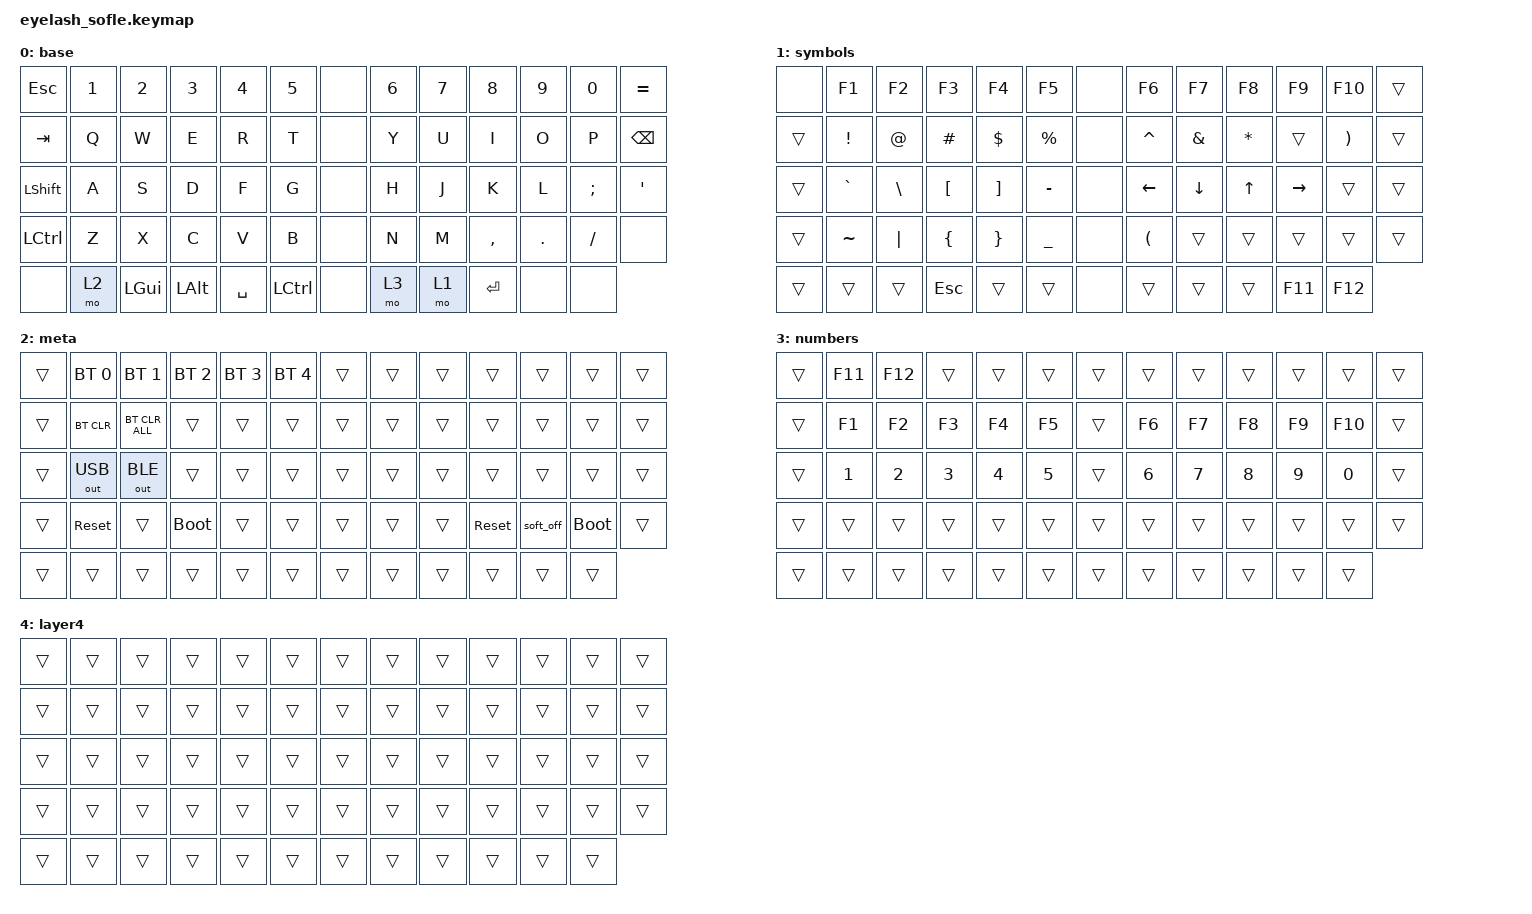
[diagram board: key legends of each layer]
#define ZMK_POINTING_DEFAULT_MOVE_VAL 1200  // 600
#define ZMK_POINTING_DEFAULT_SCRL_VAL 25   // 10

#include <input/processors.dtsi>
#include <zephyr/dt-bindings/input/input-event-codes.h>
#include <behaviors.dtsi>
#include <dt-bindings/zmk/bt.h>
#include <dt-bindings/zmk/keys.h>
#include <dt-bindings/zmk/outputs.h>
#include <dt-bindings/zmk/pointing.h>

&mmv_input_listener { input-processors = <&zip_xy_scaler 2 1>; };

&msc_input_listener { input-processors = <&zip_scroll_scaler 2 1>; };

&msc {
    acceleration-exponent = <1>;      // 0
    time-to-max-speed-ms = <100>;       // 300
    delay-ms = <0>;                   // 0
};

&mmv {
    time-to-max-speed-ms = <500>;
    acceleration-exponent = <1>;
    trigger-period-ms = <16>;
};

&soft_off { hold-time-ms = <2000>; };

/ {
    scroll_encoder: scroll_encoder {
        compatible = "zmk,behavior-sensor-rotate";
        #sensor-binding-cells = <0>;
        bindings = <&msc SCRL_DOWN>, <&msc SCRL_UP>;

        tap-ms = <100>;
    };

    behaviors {
    };

    combos {
        compatible = "zmk,combos";

        softoff {
            bindings = <&soft_off>;
            key-positions = <14 28 40>;
        };
    };

    keymap {
        compatible = "zmk,keymap";

        base {
            bindings = <
&kp ESC           &kp N1  &kp N2        &kp N3        &kp N4     &kp N5              &none  &kp N6  &kp N7  &kp N8     &kp N9   &kp N0    &kp EQUAL
&kp TAB           &kp Q   &kp W         &kp E         &kp R      &kp T               &none  &kp Y   &kp U   &kp I      &kp O    &kp P     &kp BACKSPACE
&kp LEFT_SHIFT    &kp A   &kp S         &kp D         &kp F      &kp G               &none  &kp H   &kp J   &kp K      &kp L    &kp SEMI  &kp APOS
&kp LEFT_CONTROL  &kp Z   &kp X         &kp C         &kp V      &kp B               &none  &kp N   &kp M   &kp COMMA  &kp DOT  &kp FSLH  &none
&none             &mo 2   &kp LEFT_GUI  &kp LEFT_ALT  &kp SPACE  &kp LEFT_CONTROL    &none  &mo 3   &mo 1   &kp RET    &none    &none
            >;

            display-name = "base";
        };

        symbols {
            bindings = <
&none   &kp F1           &kp F2         &kp F3            &kp F4             &kp F5            &none  &kp F6                &kp F7          &kp F8        &kp F9           &kp F10                &trans
&trans  &kp EXCLAMATION  &kp AT_SIGN    &kp HASH          &kp DOLLAR         &kp PERCENT       &none  &kp CARET             &kp AMPERSAND   &kp ASTERISK  &trans           &kp RIGHT_PARENTHESIS  &trans
&trans  &kp GRAVE        &kp BACKSLASH  &kp LEFT_BRACKET  &kp RIGHT_BRACKET  &kp MINUS         &none  &kp LEFT_ARROW        &kp DOWN_ARROW  &kp UP_ARROW  &kp RIGHT_ARROW  &trans                 &trans
&trans  &kp TILDE        &kp PIPE       &kp LEFT_BRACE    &kp RIGHT_BRACE    &kp UNDERSCORE    &none  &kp LEFT_PARENTHESIS  &trans          &trans        &trans           &trans                 &trans
&trans  &trans           &trans         &kp ESC           &trans             &trans            &none  &trans                &trans          &trans        &kp F11          &kp F12
            >;

            display-name = "symbols";
        };

        meta {
            bindings = <
&trans  &bt BT_SEL 0  &bt BT_SEL 1    &bt BT_SEL 2  &bt BT_SEL 3  &bt BT_SEL 4    &trans  &trans  &trans  &trans      &trans     &trans       &trans
&trans  &bt BT_CLR    &bt BT_CLR_ALL  &trans        &trans        &trans          &trans  &trans  &trans  &trans      &trans     &trans       &trans
&trans  &out OUT_USB  &out OUT_BLE    &trans        &trans        &trans          &trans  &trans  &trans  &trans      &trans     &trans       &trans
&trans  &sys_reset    &trans          &bootloader   &trans        &trans          &trans  &trans  &trans  &sys_reset  &soft_off  &bootloader  &trans
&trans  &trans        &trans          &trans        &trans        &trans          &trans  &trans  &trans  &trans      &trans     &trans
            >;

            display-name = "meta";
        };

        numbers {
            bindings = <
&trans  &kp F11  &kp F12  &trans  &trans  &trans    &trans  &trans  &trans  &trans  &trans  &trans   &trans
&trans  &kp F1   &kp F2   &kp F3  &kp F4  &kp F5    &trans  &kp F6  &kp F7  &kp F8  &kp F9  &kp F10  &trans
&trans  &kp N1   &kp N2   &kp N3  &kp N4  &kp N5    &trans  &kp N6  &kp N7  &kp N8  &kp N9  &kp N0   &trans
&trans  &trans   &trans   &trans  &trans  &trans    &trans  &trans  &trans  &trans  &trans  &trans   &trans
&trans  &trans   &trans   &trans  &trans  &trans    &trans  &trans  &trans  &trans  &trans  &trans
            >;

            display-name = "numbers";
        };

        layer_4 {
            bindings = <
&trans  &trans  &trans  &trans  &trans  &trans    &trans  &trans  &trans  &trans  &trans  &trans  &trans
&trans  &trans  &trans  &trans  &trans  &trans    &trans  &trans  &trans  &trans  &trans  &trans  &trans
&trans  &trans  &trans  &trans  &trans  &trans    &trans  &trans  &trans  &trans  &trans  &trans  &trans
&trans  &trans  &trans  &trans  &trans  &trans    &trans  &trans  &trans  &trans  &trans  &trans  &trans
&trans  &trans  &trans  &trans  &trans  &trans    &trans  &trans  &trans  &trans  &trans  &trans
            >;

            display-name = "layer4";
        };
    };
};
